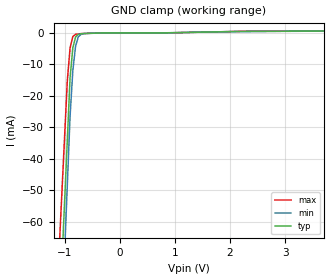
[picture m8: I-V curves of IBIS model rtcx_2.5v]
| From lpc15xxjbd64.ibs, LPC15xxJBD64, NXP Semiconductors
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[Model] rtcx_2.5v
Model_type Input
Vinl = 750.000mV
Vinh = 1.75000V
C_comp 1.24000pF 1.24000pF 1.24000pF
| variable typ   min   max
[Voltage Range] 2.50000V 2.25000V 2.75000V
[POWER Clamp Reference] 2.50000V 2.25000V 2.75000V
[GND Clamp Reference] 0.00000V 0.00000V 0.00000V
[Temperature Range]   25   85   -40
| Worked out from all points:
|   GND clamp passes 1 mA (typ) near -0.78 V on its own axis
[GND Clamp]
-2.5V     -650.4mA   -726.8mA   -577.4mA
-950mV    -34.12mA   -48.35mA   -15.2mA
-900mV    -14.24mA   -26.46mA   -4.789mA
-850mV    -4.748mA   -12.01mA   -1.147mA
-800mV    -1.272mA   -4.192mA   -452.3uA
-750mV    -455.7uA   -1.228mA   -336uA
-700mV    -264.5uA   -448.1uA   -219.6uA
-600mV    -161uA     -158.2uA   -160.1uA
2.3V      479uA      423uA      536.5uA
5V        717.8uA    713.5uA    771.2uA
[POWER Clamp]
-2.5V     0A         0A         0A
5V        0A         0A         0A
